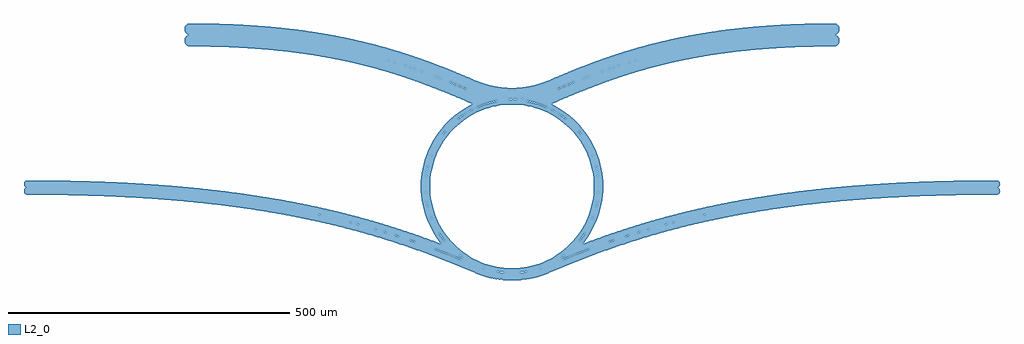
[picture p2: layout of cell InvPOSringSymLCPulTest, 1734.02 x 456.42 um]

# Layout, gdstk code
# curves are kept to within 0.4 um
import gdstk
lib = gdstk.Library(unit=1e-6, precision=1e-09)
def P(c, l, *ps):  # polygons
    for p in ps: c.add(gdstk.Polygon(p, *l))
L2_0 = (2, 0)

invposringsymlcpultest = lib.new_cell('InvPOSringSymLCPulTest')
P(invposringsymlcpultest, L2_0, [(100,-353.5),(84.954,-352.761),(70.054,-350.551),(55.441,-346.89),(41.258,-341.816),(27.641,-335.375),(14.72,-327.631),(2.621,-318.657),(-8.541,-308.541),(-18.657,-297.379),(-27.631,-285.28),(-35.375,-272.359),(-41.816,-258.742),(-46.89,-244.559),(-50.551,-229.946),(-52.761,-215.046),(-53.5,-200),(-52.761,-184.954),(-50.551,-170.054),(-46.89,-155.441),(-41.816,-141.258),(-35.375,-127.641),(-27.631,-114.72),(-18.657,-102.621),(-8.541,-91.459),(2.621,-81.343),(14.72,-72.369),(27.641,-64.625),(41.258,-58.184),(55.441,-53.11),(70.054,-49.449),(84.954,-47.239),(100,-46.5),(115.046,-47.239),(129.946,-49.449),(144.559,-53.11),(158.742,-58.184),(172.359,-64.625),(185.28,-72.369),(197.379,-81.343),(208.541,-91.459),(218.657,-102.621),(227.631,-114.72),(235.375,-127.641),(241.816,-141.258),(246.89,-155.441),(250.551,-170.054),(252.761,-184.954),(253.5,-200),(245.5,-200),(243.925,-178.651),(241.14,-164.646),(236.995,-150.983),(228.32,-131.412),(216.867,-113.326),(202.884,-97.116),(186.674,-83.133),(174.802,-75.2),(155.68,-65.576),(135.354,-58.86),(114.261,-55.201),(92.861,-54.675),(71.614,-57.296),(50.983,-63.005),(31.412,-71.68),(13.326,-83.133),(-2.884,-97.116),(-16.867,-113.326),(-24.8,-125.198),(-31.53,-137.791),(-39.235,-157.764),(-42.704,-171.614),(-45.325,-192.861),(-45.325,-207.139),(-42.704,-228.386),(-36.995,-249.017),(-31.53,-262.209),(-24.8,-274.802),(-12.473,-292.304),(-2.884,-302.884),(13.326,-316.867),(31.412,-328.32),(44.32,-334.424),(64.646,-341.14),(78.651,-343.925),(92.861,-345.325),(114.261,-344.799),(135.354,-341.14),(149.017,-336.995),(168.588,-328.32),(180.835,-320.979),(192.304,-312.473),(202.884,-302.884),(216.867,-286.674),(224.8,-274.802),(234.424,-255.68),(241.14,-235.354),(243.925,-221.349),(245.5,-200),(253.5,-200),(252.761,-215.046),(250.551,-229.946),(246.89,-244.559),(241.816,-258.742),(235.375,-272.359),(227.631,-285.28),(218.657,-297.379),(208.541,-308.541),(197.379,-318.657),(185.28,-327.631),(172.359,-335.375),(158.742,-341.816),(144.559,-346.89),(129.946,-350.551),(115.046,-352.761)],
  [(-471.756,48.925),(-475.648,49.711),(-478.827,51.854),(-480.97,55.032),(-481.756,58.925),(-480.97,62.817),(-478.827,65.996),(-475.648,68.139),(-471.756,68.925)],
  [(671.755,48.925),(671.755,68.925),(675.648,68.139),(678.827,65.996),(680.97,62.817),(681.755,59.054),(681.062,55.258),(678.827,51.854),(675.648,49.711)],
  [(-471.756,69.325),(-475.648,70.111),(-478.827,72.254),(-480.97,75.432),(-481.756,79.325),(-480.97,83.217),(-478.827,86.396),(-475.648,88.539),(-471.756,89.325)],
  [(671.755,69.325),(671.755,89.325),(675.648,88.539),(678.827,86.396),(680.97,83.217),(681.755,79.454),(681.062,75.658),(678.827,72.254),(675.648,70.111)],
  [(100,-367.09),(86.761,-366.565),(74.128,-365.075),(61.646,-362.628),(49.386,-359.24),(37.911,-355.126),(-18.62,-331.886),(-62.009,-315.539),(-109.599,-299.269),(-157.039,-284.807),(-196.29,-274.14),(-234.542,-264.829),(-274.515,-256.18),(-316.368,-248.234),(-363.473,-240.544),(-413.11,-233.754),(-465.47,-227.914),(-520.748,-223.071),(-575.142,-219.494),(-632.403,-216.868),(-688.277,-215.316),(-762.799,-214.299),(-766.034,-211.767),(-766.961,-207.635),(-764.979,-203.836),(-761.13,-202.233),(-687.962,-202.92),(-615.092,-205.135),(-538.835,-209.328),(-467.674,-215.236),(-401.215,-222.761),(-335.907,-232.321),(-289.785,-240.524),(-243.048,-250.192),(-198.621,-260.747),(-153.685,-272.868),(-105.89,-287.436),(-57.929,-303.829),(-11.929,-321.194),(51.275,-346.816),(70.73,-351.896),(91.171,-354.438),(100,-354.44),(87.275,-353.915),(75.119,-352.423),(62.645,-349.854),(50.424,-346.267),(-7.563,-322.653),(-48.726,-306.91),(-91.404,-291.936),(-133.402,-278.575),(-169.424,-268.193),(-204.182,-259.091),(-240.329,-250.542),(-277.99,-242.576),(-323.49,-234.151),(-371.367,-226.594),(-418.366,-220.366),(-467.759,-214.976),(-535.036,-209.341),(-606.864,-205.24),(-683.576,-202.758),(-761.288,-201.957),(-763.766,-201.227),(-765.779,-199.485),(-766.852,-197.175),(-766.885,-194.525),(-764.754,-190.991),(-760.811,-189.575),(-672.887,-190.593),(-590.945,-193.577),(-531.46,-197.164),(-475.11,-201.814),(-421.701,-207.479),(-368.145,-214.531),(-322.947,-221.663),(-277.219,-230.086),(-233.67,-239.33),(-192.108,-249.349),(-150.055,-260.748),(-107.6,-273.6),(-66.87,-287.229),(-25.566,-302.338),(-38.952,-283.285),(-46.446,-269.264),(-52.53,-254.576),(-58.887,-231.605),(-61.22,-215.879),(-61.805,-192.051),(-60.247,-176.23),(-57.145,-160.637),(-52.53,-145.424),(-46.446,-130.736),(-38.952,-116.715),(-25.228,-97.228),(-14.551,-85.449),(-2.772,-74.772),(9.998,-65.302),(30.706,-53.569),(-32.126,-27.72),(-77.785,-10.661),(-123.893,4.257),(-170.567,16.855),(-204.053,24.386),(-239.683,31.103),(-275.492,36.606),(-311.274,40.961),(-349.224,44.441),(-389.491,46.975),(-429.478,48.427),(-471.755,48.925),(-471.755,68.925),(-399.111,67.436),(-365.309,65.633),(-330.665,62.961),(-297.746,59.578),(-266.452,55.535),(-236.685,50.878),(-206.372,45.264),(-177.574,39.061),(-148.388,31.863),(-118.948,23.637),(-90.95,14.9),(-38.568,-3.76),(32.691,-32.927),(48.013,-38.235),(61.478,-41.686),(75.167,-44.102),(90.735,-45.565),(100,-45.4),(86.717,-44.915),(73.504,-43.461),(60.998,-41.172),(48.127,-37.851),(32.839,-32.555),(-38.696,-3.283),(-91.075,15.361),(-119.071,24.09),(-148.508,32.308),(-177.69,39.498),(-206.483,45.694),(-236.789,51.302),(-266.548,55.953),(-297.831,59.991),(-330.737,63.369),(-365.367,66.037),(-399.152,67.838),(-471.755,69.325),(-471.755,89.325),(-431.354,88.882),(-392.953,87.585),(-356.455,85.483),(-319.346,82.392),(-284.185,78.491),(-248.689,73.505),(-215.121,67.738),(-181.402,60.836),(-128.012,47.461),(-75.836,31.354),(-27.665,13.891),(39.741,-13.776),(52.35,-18.234),(64.279,-21.413),(75.907,-23.598),(87.663,-24.93),(100,-25.4),(100,-38),(100,-25.4),(112.337,-24.93),(124.093,-23.598),(135.721,-21.413),(147.65,-18.234),(160.259,-13.776),(227.665,13.891),(275.836,31.354),(328.012,47.461),(381.402,60.836),(415.121,67.738),(448.689,73.505),(484.185,78.491),(519.346,82.392),(556.455,85.483),(592.953,87.585),(631.354,88.882),(671.755,89.325),(671.755,69.325),(599.152,67.838),(565.367,66.037),(530.737,63.369),(497.831,59.991),(466.548,55.953),(436.789,51.302),(406.483,45.694),(377.69,39.498),(348.508,32.308),(319.071,24.09),(291.075,15.361),(238.696,-3.283),(167.161,-32.555),(151.873,-37.851),(139.002,-41.172),(126.496,-43.461),(113.283,-44.915),(100,-45.4),(109.265,-45.565),(124.833,-44.102),(138.522,-41.686),(151.987,-38.235),(167.309,-32.927),(238.568,-3.76),(290.95,14.9),(318.948,23.637),(348.388,31.863),(377.574,39.061),(406.372,45.264),(436.685,50.878),(466.452,55.535),(497.746,59.578),(530.665,62.961),(565.309,65.633),(599.111,67.436),(671.755,68.925),(671.755,48.925),(629.478,48.427),(589.491,46.975),(549.224,44.441),(511.274,40.961),(475.492,36.606),(439.683,31.103),(404.053,24.386),(370.567,16.855),(323.893,4.257),(277.785,-10.661),(232.126,-27.72),(169.294,-53.569),(190.002,-65.302),(208.793,-79.966),(225.228,-97.228),(238.952,-116.715),(249.668,-138.005),(257.145,-160.637),(260.247,-176.23),(262,-200),(254,-200),(252.333,-177.404),(247.369,-155.296),(239.214,-134.157),(228.046,-114.442),(219.044,-102.303),(203.42,-85.894),(191.738,-76.306),(172.595,-64.184),(151.881,-55.002),(137.419,-50.615),(122.596,-47.667),(100,-46),(77.404,-47.667),(55.296,-52.631),(34.157,-60.786),(20.828,-67.91),(8.262,-76.306),(-3.42,-85.894),(-19.044,-102.303),(-28.046,-114.442),(-35.816,-127.405),(-44.998,-148.119),(-49.385,-162.581),(-52.333,-177.404),(-54,-200),(-53.258,-215.095),(-51.041,-230.044),(-47.369,-244.704),(-39.214,-265.843),(-32.09,-279.172),(-19.044,-297.697),(-8.894,-308.894),(8.262,-323.694),(27.405,-335.816),(48.119,-344.998),(69.956,-351.041),(92.444,-353.815),(115.095,-353.258),(137.419,-349.385),(158.933,-342.277),(179.172,-332.09),(197.697,-319.044),(214.106,-303.42),(228.046,-285.558),(239.214,-265.843),(247.369,-244.704),(252.333,-222.596),(254,-200),(262,-200),(260.247,-223.77),(255.024,-247.026),(249.668,-261.995),(242.871,-276.366),(234.698,-290.002),(225.566,-302.338),(268.975,-286.493),(309.789,-272.904),(352.342,-260.095),(396.901,-248.132),(441.205,-237.641),(487.775,-228.028),(534.043,-219.806),(582.726,-212.467),(643.349,-205.027),(707.889,-198.952),(776.657,-194.323),(846.185,-191.334),(904.145,-189.99),(961.288,-189.593),(964.52,-190.807),(966.634,-193.643),(966.852,-197.175),(965.195,-200.159),(963.224,-201.488),(960.971,-201.973),(883.576,-202.758),(810.994,-205.059),(762.41,-207.56),(712.121,-211.053),(660.55,-215.694),(608.098,-221.632),(558.357,-228.522),(511.133,-236.315),(469.158,-244.361),(429.051,-253.112),(390.656,-262.528),(351.24,-273.311),(303.573,-287.924),(255.725,-304.359),(212.073,-320.869),(147.716,-346.884),(136.404,-350.088),(124.881,-352.423),(100,-354.69),(112.257,-354.204),(123.952,-352.824),(135.508,-350.56),(147.326,-347.273),(157.482,-343.614),(214.19,-320.304),(260.277,-302.985),(310.811,-285.855),(361.457,-270.664),(404.056,-259.381),(445.899,-249.561),(489.785,-240.524),(535.907,-232.321),(597.84,-223.2),(664.062,-215.593),(734.966,-209.597),(806.814,-205.493),(883.549,-203.008),(961.13,-202.233),(964.638,-203.547),(966.732,-206.581),(966.732,-210.269),(964.638,-213.303),(960.971,-214.623),(888.277,-215.316),(819.884,-217.348),(767.2,-219.947),(713.202,-223.657),(661.891,-228.272),(609.718,-234.178),(560.256,-241.029),(513.312,-248.777),(474.515,-256.18),(434.542,-264.829),(396.29,-274.14),(357.039,-284.807),(309.599,-299.269),(262.009,-315.539),(218.62,-331.886),(162.089,-355.126),(150.614,-359.24),(130.053,-364.365),(109.008,-366.847),(100,-367.09),(100,-362)])

lib.write_gds('InvPOSringSymLCPulTest.gds')
